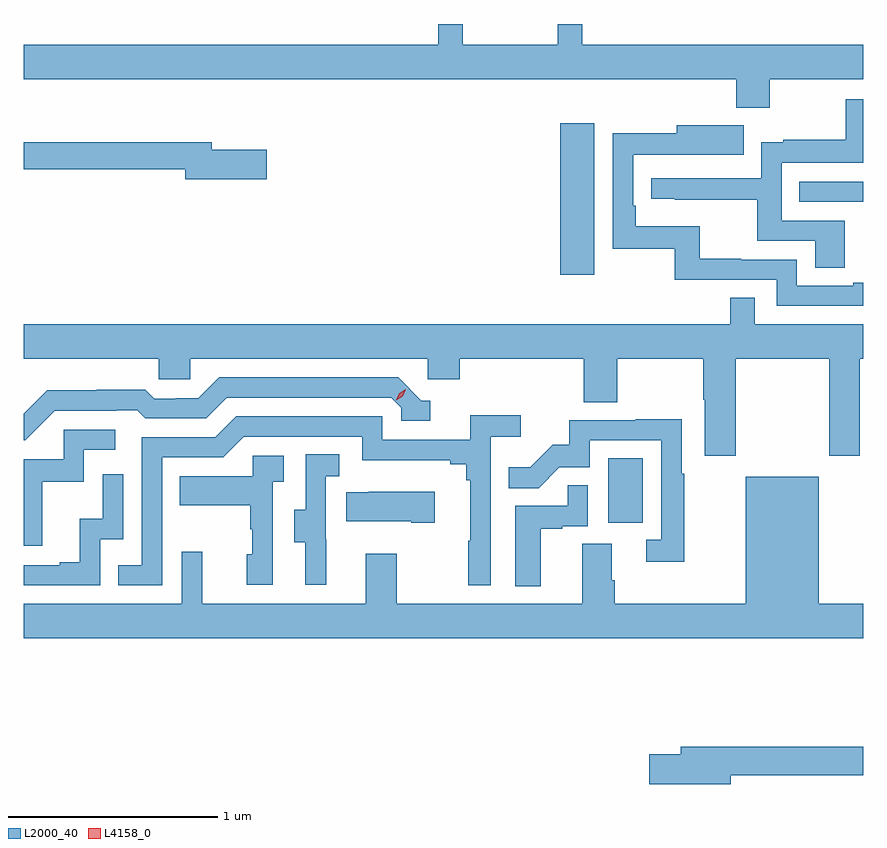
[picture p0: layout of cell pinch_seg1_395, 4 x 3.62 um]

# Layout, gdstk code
import gdstk
lib = gdstk.Library(unit=1e-6, precision=1e-09)
def R(c, l, rs):  # rectangles x0, y0, x1, y1
    for r in rs: c.add(gdstk.rectangle(r[:2], r[2:], *l))
def P(c, l, *ps):  # polygons
    for p in ps: c.add(gdstk.Polygon(p, *l))
L2000_40 = (2000, 40)
L4158_0 = (4158, 0)

pinch_seg1_395 = lib.new_cell('pinch_seg1_395')
R(pinch_seg1_395, L2000_40, [(1014.734,534.966,1014.898,535.273), (1014.506,536.148,1014.667,536.869), (1015.645,536.496,1015.949,536.592)])
P(pinch_seg1_395, L2000_40, [(1015.503,537.08),(1015.949,537.08),(1015.949,537.244),(1014.611,537.244),(1014.611,537.343),(1014.494,537.343),(1014.494,537.244),(1014.041,537.244),(1014.041,537.343),(1013.923,537.343),(1013.923,537.244),(1011.949,537.244),(1011.949,537.08),(1015.343,537.08),(1015.343,536.945),(1015.503,536.945)],
  [(1015.861,536.406),(1015.56,536.406),(1015.56,536.682),(1015.949,536.682),(1015.949,536.985),(1015.866,536.985),(1015.866,536.791),(1015.567,536.791),(1015.567,536.779),(1015.464,536.779),(1015.464,536.607),(1014.939,536.607),(1014.939,536.511),(1015.051,536.511),(1015.051,536.506),(1015.444,536.506),(1015.444,536.31),(1015.721,536.31),(1015.721,536.182),(1015.861,536.182)],
  [(1015.949,536.11),(1015.901,536.11),(1015.901,536.097),(1015.632,536.097),(1015.632,536.22),(1015.367,536.22),(1015.367,536.225),(1015.171,536.225),(1015.171,536.38),(1014.866,536.38),(1014.866,536.476),(1014.852,536.476),(1014.852,536.721),(1015.165,536.721),(1015.165,536.72),(1015.379,536.72),(1015.379,536.86),(1015.061,536.86),(1015.061,536.822),(1014.756,536.822),(1014.756,536.271),(1015.05,536.271),(1015.05,536.124),(1015.536,536.124),(1015.536,536.001),(1015.949,536.001)],
  [(1013.107,536.745),(1012.846,536.745),(1012.846,536.779),(1011.949,536.779),(1011.949,536.65),(1012.718,536.65),(1012.718,536.603),(1013.107,536.603)],
  [(1015.341,535.748),(1015.786,535.748),(1015.786,535.287),(1015.933,535.287),(1015.933,535.748),(1015.949,535.748),(1015.949,535.912),(1015.431,535.912),(1015.431,536.039),(1015.315,536.039),(1015.315,535.912),(1011.949,535.912),(1011.949,535.748),(1012.593,535.748),(1012.593,535.65),(1012.743,535.65),(1012.743,535.748),(1013.874,535.748),(1013.874,535.65),(1014.026,535.65),(1014.026,535.748),(1014.617,535.748),(1014.617,535.54),(1014.777,535.54),(1014.777,535.748),(1015.186,535.748),(1015.186,535.552),(1015.193,535.552),(1015.193,535.287),(1015.341,535.287)],
  [(1012.098,535.5),(1012.391,535.5),(1012.391,535.503),(1012.49,535.503),(1012.529,535.464),(1012.818,535.464),(1012.917,535.563),(1013.7,535.563),(1013.748,535.515),(1013.748,535.452),(1013.887,535.452),(1013.887,535.548),(1013.844,535.548),(1013.733,535.659),(1012.88,535.659),(1012.781,535.56),(1012.674,535.56),(1012.674,535.557),(1012.571,535.557),(1012.529,535.6),(1012.296,535.6),(1012.296,535.597),(1012.06,535.597),(1011.949,535.486),(1011.949,535.359),(1011.957,535.359)],
  [(1012.608,535.278),(1012.899,535.278),(1012.998,535.377),(1013.562,535.377),(1013.562,535.265),(1013.981,535.265),(1013.981,535.246),(1014.058,535.246),(1014.058,535.169),(1014.077,535.169),(1014.077,534.881),(1014.066,534.881),(1014.066,534.669),(1014.174,534.669),(1014.174,535.376),(1014.316,535.376),(1014.316,535.478),(1014.077,535.478),(1014.077,535.362),(1013.658,535.362),(1013.658,535.473),(1012.961,535.473),(1012.862,535.374),(1012.512,535.374),(1012.512,534.765),(1012.399,534.765),(1012.399,534.669),(1012.608,534.669)],
  [(1015.096,535.199),(1015.083,535.199),(1015.083,535.46),(1014.865,535.46),(1014.865,535.455),(1014.547,535.455),(1014.547,535.338),(1014.47,535.338),(1014.363,535.231),(1014.259,535.231),(1014.259,535.132),(1014.402,535.132),(1014.5,535.23),(1014.645,535.23),(1014.645,535.359),(1014.987,535.359),(1014.987,534.885),(1014.915,534.885),(1014.915,534.78),(1015.096,534.78)],
  [(1012.037,535.161),(1012.236,535.161),(1012.236,535.314),(1012.384,535.314),(1012.384,535.41),(1012.14,535.41),(1012.14,535.269),(1011.949,535.269),(1011.949,534.858),(1012.037,534.858)],
  [(1013.39,534.885),(1013.388,534.885),(1013.388,535.189),(1013.452,535.189),(1013.452,535.292),(1013.292,535.292),(1013.292,535.029),(1013.237,535.029),(1013.237,534.874),(1013.291,534.874),(1013.291,534.672),(1013.39,534.672)],
  [(1013.136,535.163),(1013.188,535.163),(1013.188,535.287),(1013.04,535.287),(1013.04,535.189),(1012.693,535.189),(1012.693,535.049),(1013.028,535.049),(1013.028,534.935),(1013.038,534.935),(1013.038,534.816),(1013.012,534.816),(1013.012,534.672),(1013.136,534.672)],
  [(1012.314,534.888),(1012.422,534.888),(1012.422,535.198),(1012.326,535.198),(1012.326,534.986),(1012.217,534.986),(1012.217,534.778),(1012.121,534.778),(1012.121,534.765),(1011.949,534.765),(1011.949,534.669),(1012.314,534.669)],
  [(1015.949,534.58),(1015.738,534.58),(1015.738,535.186),(1015.388,535.186),(1015.388,534.58),(1014.764,534.58),(1014.764,534.692),(1014.751,534.692),(1014.751,534.866),(1014.611,534.866),(1014.611,534.58),(1013.727,534.58),(1013.727,534.82),(1013.579,534.82),(1013.579,534.58),(1012.799,534.58),(1012.799,534.829),(1012.701,534.829),(1012.701,534.58),(1011.949,534.58),(1011.949,534.416),(1015.949,534.416)],
  [(1014.412,534.939),(1014.515,534.939),(1014.515,534.951),(1014.636,534.951),(1014.636,535.145),(1014.541,535.145),(1014.541,535.047),(1014.29,535.047),(1014.29,534.665),(1014.412,534.665)],
  [(1013.908,535.114),(1013.593,535.114),(1013.593,535.111),(1013.485,535.111),(1013.485,534.974),(1013.795,534.974),(1013.795,534.967),(1013.908,534.967)],
  [(1015.318,533.764),(1015.949,533.764),(1015.949,533.9),(1015.079,533.9),(1015.079,533.864),(1014.93,533.864),(1014.93,533.722),(1015.318,533.722)])
P(pinch_seg1_395, L4158_0, [(1013.723,535.55),(1013.723,535.55),(1013.739,535.583),(1013.77,535.602),(1013.77,535.602),(1013.77,535.602),(1013.754,535.569),(1013.723,535.55)])

lib.write_gds('pinch_seg1_395.gds')
